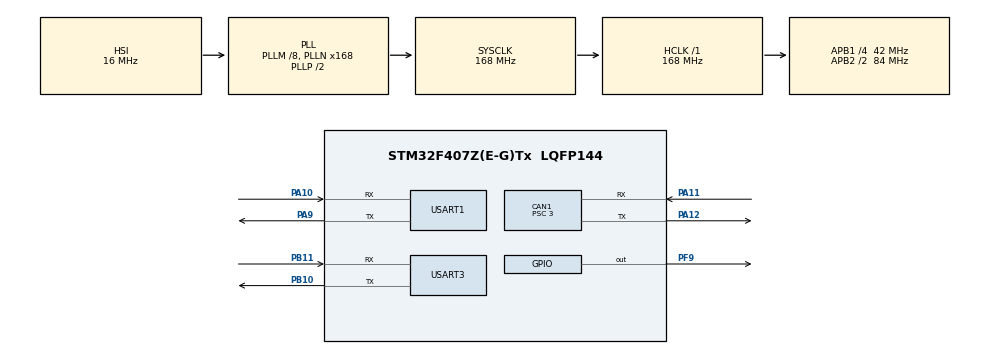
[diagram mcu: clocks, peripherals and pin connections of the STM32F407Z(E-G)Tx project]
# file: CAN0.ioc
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CAN1.BS1=CAN_BS1_9TQ
CAN1.BS2=CAN_BS2_4TQ
CAN1.CalculateBaudRate=1000000
CAN1.CalculateTimeBit=1000
CAN1.CalculateTimeQuantum=71.42857142857143
CAN1.Prescaler=3
Mcu.Family=STM32F4
Mcu.Name=STM32F407Z(E-G)Tx
Mcu.Package=LQFP144
NVIC.CAN1_RX0_IRQn=true\:0\:0\:false\:false\:true\:true\:true\:true
NVIC.CAN1_RX1_IRQn=true\:0\:0\:false\:false\:true\:true\:true\:true
NVIC.CAN1_TX_IRQn=true\:0\:0\:false\:false\:true\:true\:true\:true
NVIC.PriorityGroup=NVIC_PRIORITYGROUP_4
NVIC.USART1_IRQn=true\:0\:0\:false\:false\:true\:true\:true\:true
NVIC.USART3_IRQn=true\:0\:0\:false\:false\:true\:true\:true\:true
PA10.Mode=Asynchronous
PA10.Signal=USART1_RX
PA11.Mode=CAN_Activate
PA11.Signal=CAN1_RX
PA12.Mode=CAN_Activate
PA12.Signal=CAN1_TX
PA9.Mode=Asynchronous
PA9.Signal=USART1_TX
PB10.Mode=Asynchronous
PB10.Signal=USART3_TX
PB11.Mode=Asynchronous
PB11.Signal=USART3_RX
PF9.Signal=GPIO_Output
PH0-OSC_IN.Mode=HSE-External-Oscillator
PH0-OSC_IN.Signal=RCC_OSC_IN
PH1-OSC_OUT.Mode=HSE-External-Oscillator
PH1-OSC_OUT.Signal=RCC_OSC_OUT
ProjectManager.HeapSize=0x200
ProjectManager.StackSize=0x400
ProjectManager.TargetToolchain=STM32CubeIDE
RCC.48MHZClocksFreq_Value=84000000
RCC.AHBFreq_Value=168000000
RCC.APB1CLKDivider=RCC_HCLK_DIV4
RCC.APB1Freq_Value=42000000
RCC.APB1TimFreq_Value=84000000
RCC.APB2CLKDivider=RCC_HCLK_DIV2
RCC.APB2Freq_Value=84000000
RCC.APB2TimFreq_Value=168000000
RCC.CortexFreq_Value=168000000
RCC.HCLKFreq_Value=168000000
RCC.HSE_VALUE=25000000
RCC.HSI_VALUE=16000000
RCC.LSE_VALUE=32768
RCC.PLLM=8
RCC.PLLN=168
RCC.SYSCLKFreq_VALUE=168000000
RCC.SYSCLKSource=RCC_SYSCLKSOURCE_PLLCLK
RCC.VCOOutputFreq_Value=336000000
USART1.VirtualMode=VM_ASYNC
USART3.VirtualMode=VM_ASYNC
board=custom

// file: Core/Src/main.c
/* USER CODE BEGIN Header */
/**
  ******************************************************************************
  * @file           : main.c
  * @brief          : Main program body
  ******************************************************************************
  * @attention
  *
  * Copyright (c) 2024 STMicroelectronics.
  * All rights reserved.
  *
  * This software is licensed under terms that can be found in the LICENSE file
  * in the root directory of this software component.
  * If no LICENSE file comes with this software, it is provided AS-IS.
  *
  ******************************************************************************
  */
/* USER CODE END Header */
#include "main.h"
#include "can.h"
#include "usart.h"
#include "gpio.h"

/* USER CODE BEGIN PTD */
u32 run_cnt = 0;
u8 i;
pid_t pid_speed[4];		   //电机速度PID�???
pid_t pid_position[4];	//电机电流PID�???

float set_speed_temp;			   //加减速时的临时设定�?�度
int16_t delta;					   //设定速度与实际�?�度的差�???
int16_t max_speed_change = 500;   //电机单次�???大变化�?�度，加减�?�用
// 500经测试差不多是最大加速区间，即从零打到最大�?�度不异常的�???大�??
/* USER CODE END PTD */

/* USER CODE BEGIN PV */

#ifdef __GNUC__
#define PUTCHAR_PROTOTYPE int __io_putchar(int ch)
#else
#define PUTCHAR_PROTOTYPE int fputc(int ch, FILE *f)
#endif
  PUTCHAR_PROTOTYPE
  {
    HAL_UART_Transmit(&huart3 , (uint8_t *)&ch, 1, 0xFFFF);
    return ch;
  }
/* USER CODE END PV */

void SystemClock_Config(void);

/* USER CODE BEGIN 0 */
PID_TypeDef motor_pid[4];
int32_t set_spd = 0;

// 定义接收缓冲区大�?
#define UART1_RX_BUFFER_SIZE  1

// 接收缓冲�?
uint8_t UART1_RX_Buffer[UART1_RX_BUFFER_SIZE];

/* USER CODE END 0 */

int main(void)
{

  /* USER CODE BEGIN 1 */
  const uint8_t SendBuffer[4]={0x03,0xFC,0xFC,0x03};  // 帧头
  /* USER CODE END 1 */

  /* MCU Configuration--------------------------------------------------------*/

  /* Reset of all peripherals, Initializes the Flash interface and the Systick. */
  HAL_Init();

  /* Configure the system clock */
  SystemClock_Config();

  /* Initialize all configured peripherals */
  MX_GPIO_Init();
  MX_CAN1_Init();
  MX_USART1_UART_Init();
  MX_USART3_UART_Init();
  /* USER CODE BEGIN 2 */
//	printf("Init Success\r\n");
// ��ʼ��CAN�˲���
my_can_filter_init_recv_all(&hcan1);

// ����CANģ��
if (HAL_CAN_Start(&hcan1) != HAL_OK)
{
    Error_Handler();
}

  // 启用发�?�完成中断（Mailbox 0�???1 �??? 2�???
  if (HAL_CAN_ActivateNotification(&hcan1, CAN_IT_TX_MAILBOX_EMPTY | CAN_IT_RX_FIFO0_MSG_PENDING) != HAL_OK)
  {
    Error_Handler();
  }

	uint8_t test_data[] = "UART Test\r\n";
	HAL_UART_Transmit(&huart1, test_data, sizeof(test_data) - 1, HAL_MAX_DELAY);
	printf("Init Success\r\n");

  /* USER CODE END 2 */

  /* Infinite loop */
  /* USER CODE BEGIN WHILE */
  //PID初始�???, 电机参数都设为默认参�???
  for (i = 0; i < 4; i++)
  {
    memcpy(&motorPara[i], &defalutPara, 24);
  }

  //PID初始�???
  for (i = 0; i < 4; i++)
  {
    PID_struct_init(&pid_position[i], POSITION_PID, 8000, 2000, motorPara[i].kp, motorPara[i].ki, motorPara[i].kd);   //4 motos angular position closeloop.  �???大输�???8000对应电机转�??8000rpm
    PID_struct_init(&pid_speed[i], POSITION_PID, 16384, 16384, motorPara[i].kpv, motorPara[i].kiv, motorPara[i].kdv); //4 motos angular rate closeloop.
  }

  // 初始化期望位置�?��?�度、电流都�???0
  set_position[0] = set_position[1] = set_position[2] = set_position[3] = 2000.0f; 	// -8000-8000，双向转
  set_speed[0] = set_speed[1] = set_speed[2] = set_speed[3] = 0; 				// -8000-8000，双向转
  set_current[0] = set_current[1] = set_current[2] = set_current[3] = 0;		// -8000-8000，双向转

  while (1)
  {
 // 力矩控制模式
		if (control_mode == CURRENT_MODE)
		{
			set_moto_current(&hcan1, 0x200, set_current[0], set_current[1], set_current[2], set_current[3]);
		}

		// 速度控制模式
		if (control_mode == SPEED_MODE)
		{
			for (i = 0; i < 2; i++)
			{
				//加减�???
				delta = (int16_t)set_speed[i] - moto_chassis[i].speed_rpm;
				if (delta > max_speed_change)
					set_speed_temp = (float)(moto_chassis[i].speed_rpm + max_speed_change);
				else if (delta < -max_speed_change)
					set_speed_temp = (float)(moto_chassis[i].speed_rpm - max_speed_change);
				else
					set_speed_temp = set_speed[i];
				pid_calc(&pid_speed[i], (float)moto_chassis[i].speed_rpm, set_speed_temp);
				printf("Motor %d - Speed Control:\n", i);
				printf("  target_speed: %f, speed_rpm: %d\n", pid_position[i].pos_out, moto_chassis[i].speed_rpm);
				printf("  speed_error: %f\n", pid_speed[i].err[NOW]);
				printf("  speed_output (current command): %f\n", pid_speed[i].pos_out);
			}

			set_moto_current(&hcan1, 0x200, (s16)(pid_speed[0].pos_out),
							 (s16)(pid_speed[1].pos_out),
							 (s16)(pid_speed[2].pos_out),
							 (s16)(pid_speed[3].pos_out));
			printf("  Motor %d current command: %d\n", i, (int16_t)(pid_speed[i].pos_out));
			printf("in speed mode\r\n");
		}

			if (control_mode == POSITION_MODE)
		{
			for(i = 0; i<2; i++)
			{
				// 位置�???
				pid_calc(&pid_position[i], (float)moto_chassis[i].total_angle, set_position[i]);
				printf("Motor %d - Position Control:\n", i);
				printf("  set_position: %f, total_angle: %ld\n", set_position[i], moto_chassis[i].total_angle);
				printf("  position_error: %f\n", pid_position[i].err[NOW]);
				printf("  position_output (target_speed): %f\n", pid_position[i].pos_out);
				// 速度�???
				pid_calc(&pid_speed[i], (float)moto_chassis[i].speed_rpm, pid_position[i].pos_out);
				printf("Motor %d - Speed Control:\n", i);
				printf("  target_speed: %f, speed_rpm: %d\n", pid_position[i].pos_out, moto_chassis[i].speed_rpm);
				printf("  speed_error: %f\n", pid_speed[i].err[NOW]);
				printf("  speed_output (current command): %f\n", pid_speed[i].pos_out);
			}

			set_moto_current(&hcan1, 0x200, (s16)(pid_speed[0].pos_out),
							 (s16)(pid_speed[1].pos_out),
							 (s16)(pid_speed[2].pos_out),
							 (s16)(pid_speed[3].pos_out));
				printf("  Motor %d current command: %d\n", i, (int16_t)(pid_speed[i].pos_out));
			printf("in position mode\r\n");

		}

		if (pid1_change_flag)
		{
			PID_struct_init(&pid_position[i], POSITION_PID, 8000, 2000, motorPara[0].kp, motorPara[0].ki, motorPara[0].kd);   //4 motos angular position closeloop.  �???大输�???8000对应电机转�??8000rpm
			PID_struct_init(&pid_speed[i], POSITION_PID, 16384, 16384, motorPara[0].kpv, motorPara[0].kiv, motorPara[0].kdv); //4 motos angular rate closeloop.
			pid1_change_flag = 0;
		}
		if (pid2_change_flag)
		{
			PID_struct_init(&pid_position[i], POSITION_PID, 8000, 2000, motorPara[1].kp, motorPara[1].ki, motorPara[1].kd);   //4 motos angular position closeloop.  �???大输�???8000对应电机转�??8000rpm
			PID_struct_init(&pid_speed[i], POSITION_PID, 16384, 16384, motorPara[1].kpv, motorPara[1].kiv, motorPara[1].kdv); //4 motos angular rate closeloop.
			pid1_change_flag = 0;
		}

//		// 上传数据�???20ms上传�???�???
		if (run_cnt % 4 == 0)
		{
			uploadMoto12Info();
			uploadControl12Info();
			uploadPID1Info();
			uploadPID2Info();
			printf("ki %f angle %d\r\n", motorPara[0].kiv, moto_chassis[0].total_angle);
		}

		run_cnt++;
		HAL_Delay(5); // 采样周期

  	printf("control_mode: %d\r\n", control_mode);
  	printf("set_position[0]: %f\n", set_position[0]);
  	printf("set_speed[0]: %f\n", set_speed[0]);
  	printf("set_current[0]: %f\n", set_current[0]);
  	printf("iq1: %d, iq2: %d, iq3: %d, iq4: %d\n", (s16)(pid_speed[0].pos_out),
							 (s16)(pid_speed[1].pos_out),
							 (s16)(pid_speed[2].pos_out),
							 (s16)(pid_speed[3].pos_out));

    /* UART 输出 */
  	/*
    uint8_t test_data[] = "UART Test\r\n";
    HAL_UART_Transmit(&huart3, test_data, sizeof(test_data) - 1, HAL_MAX_DELAY);

    printf("Printf Success\r\n");
  	*/
    HAL_Delay(1000);

    /* USER CODE END WHILE */

    /* USER CODE BEGIN 3 */

    /* PID calculation & motor output */
    /*
    for(int i=0; i<4; i++)
    {
      motor_pid[i].target = set_spd;
      motor_pid[i].f_cal_pid(&motor_pid[i],moto_chassis[i].speed_rpm);    //根据设定值进行PID计算�???
    }
    set_moto_current(&hcan1, motor_pid[0].output,   //将PID的计算结果�?�过CAN发�?�到电机
                        motor_pid[1].output,
                        motor_pid[2].output,
                        motor_pid[3].output);
    */
  }

  /* USER CODE END 3 */
}

void SystemClock_Config(void)
{
  RCC_OscInitTypeDef RCC_OscInitStruct = {0};
  RCC_ClkInitTypeDef RCC_ClkInitStruct = {0};

  /** Configure the main internal regulator output voltage
  */
  __HAL_RCC_PWR_CLK_ENABLE();
  __HAL_PWR_VOLTAGESCALING_CONFIG(PWR_REGULATOR_VOLTAGE_SCALE1);

  /** Initializes the RCC Oscillators according to the specified parameters
  * in the RCC_OscInitTypeDef structure.
  */
  RCC_OscInitStruct.OscillatorType = RCC_OSCILLATORTYPE_HSI;
  RCC_OscInitStruct.HSIState = RCC_HSI_ON;
  RCC_OscInitStruct.HSICalibrationValue = RCC_HSICALIBRATION_DEFAULT;
  RCC_OscInitStruct.PLL.PLLState = RCC_PLL_ON;
  RCC_OscInitStruct.PLL.PLLSource = RCC_PLLSOURCE_HSI;
  RCC_OscInitStruct.PLL.PLLM = 8;
  RCC_OscInitStruct.PLL.PLLN = 168;
  RCC_OscInitStruct.PLL.PLLP = RCC_PLLP_DIV2;
  RCC_OscInitStruct.PLL.PLLQ = 4;
  if (HAL_RCC_OscConfig(&RCC_OscInitStruct) != HAL_OK)
  {
    Error_Handler();
  }

  /** Initializes the CPU, AHB and APB buses clocks
  */
  RCC_ClkInitStruct.ClockType = RCC_CLOCKTYPE_HCLK|RCC_CLOCKTYPE_SYSCLK
                              |RCC_CLOCKTYPE_PCLK1|RCC_CLOCKTYPE_PCLK2;
  RCC_ClkInitStruct.SYSCLKSource = RCC_SYSCLKSOURCE_PLLCLK;
  RCC_ClkInitStruct.AHBCLKDivider = RCC_SYSCLK_DIV1;
  RCC_ClkInitStruct.APB1CLKDivider = RCC_HCLK_DIV4;
  RCC_ClkInitStruct.APB2CLKDivider = RCC_HCLK_DIV2;

  if (HAL_RCC_ClockConfig(&RCC_ClkInitStruct, FLASH_LATENCY_5) != HAL_OK)
  {
    Error_Handler();
  }
}

void Error_Handler(void)
{
  __disable_irq();
  while (1)
  {
  }
}
